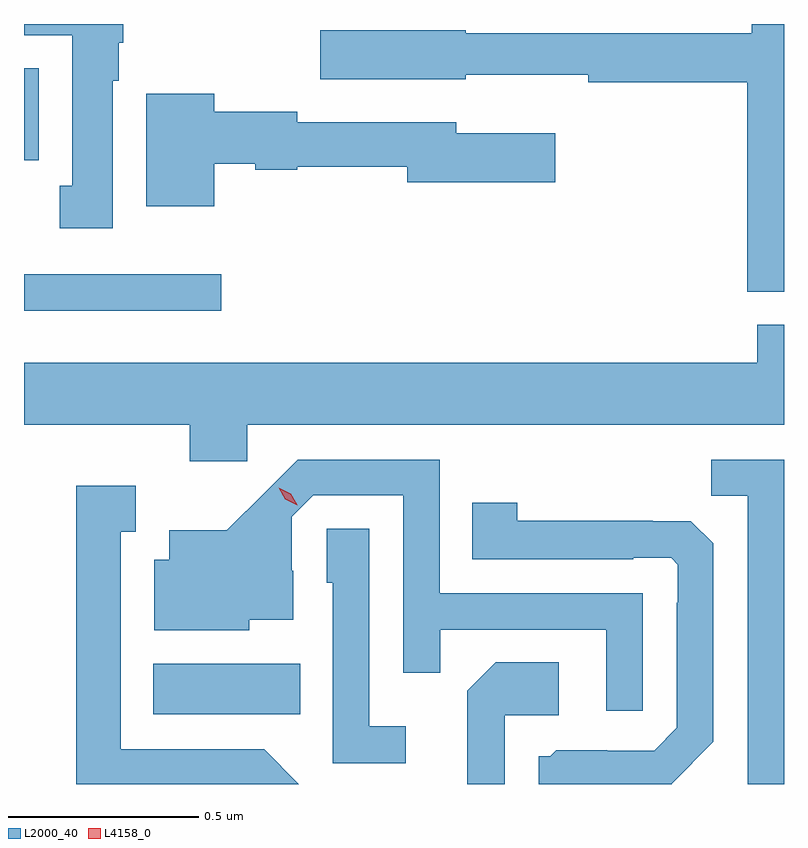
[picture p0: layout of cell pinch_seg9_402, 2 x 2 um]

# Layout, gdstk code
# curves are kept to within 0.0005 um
import gdstk
lib = gdstk.Library(unit=1e-6, precision=1e-09)
def R(c, l, rs):  # rectangles x0, y0, x1, y1
    for r in rs: c.add(gdstk.rectangle(r[:2], r[2:], *l))
def P(c, l, *ps):  # polygons
    for p in ps: c.add(gdstk.Polygon(p, *l))
L2000_40 = (2000, 40)
L4158_0 = (4158, 0)

pinch_seg9_402 = lib.new_cell('pinch_seg9_402')
R(pinch_seg9_402, L2000_40, [(326.735,1235.618,327.122,1235.752), (326.395,1236.68,326.914,1236.777), (326.395,1237.076,326.434,1237.318)])
P(pinch_seg9_402, L2000_40, [(328.395,1237.435),(328.31,1237.435),(328.31,1237.411),(327.558,1237.411),(327.558,1237.419),(327.174,1237.419),(327.174,1237.289),(327.558,1237.289),(327.558,1237.301),(327.88,1237.301),(327.88,1237.282),(328.298,1237.282),(328.298,1236.731),(328.395,1236.731)],
  [(326.629,1237.286),(326.644,1237.286),(326.644,1237.386),(326.656,1237.386),(326.656,1237.435),(326.395,1237.435),(326.395,1237.406),(326.522,1237.406),(326.522,1237.01),(326.489,1237.01),(326.489,1236.897),(326.629,1236.897)],
  [(326.896,1237.067),(327.003,1237.067),(327.003,1237.052),(327.114,1237.052),(327.114,1237.06),(327.404,1237.06),(327.404,1237.018),(327.793,1237.018),(327.793,1237.147),(327.532,1237.147),(327.532,1237.176),(327.114,1237.176),(327.114,1237.204),(326.896,1237.204),(326.896,1237.252),(326.717,1237.252),(326.717,1236.956),(326.896,1236.956)],
  [(326.982,1236.38),(328.395,1236.38),(328.395,1236.643),(328.325,1236.643),(328.325,1236.544),(326.395,1236.544),(326.395,1236.38),(326.831,1236.38),(326.831,1236.285),(326.982,1236.285)],
  [(328.023,1235.937),(327.489,1235.937),(327.489,1236.288),(327.116,1236.288),(326.929,1236.103),(326.777,1236.103),(326.777,1236.025),(326.738,1236.025),(326.738,1235.84),(326.988,1235.84),(326.988,1235.867),(327.103,1235.867),(327.103,1235.996),(327.099,1235.996),(327.099,1236.138),(327.156,1236.195),(327.393,1236.195),(327.393,1235.728),(327.491,1235.728),(327.491,1235.841),(327.927,1235.841),(327.927,1235.628),(328.023,1235.628)],
  [(328.395,1236.288),(328.204,1236.288),(328.204,1236.193),(328.299,1236.193),(328.299,1235.435),(328.395,1235.435)],
  [(327.027,1235.526),(326.65,1235.526),(326.65,1236.099),(326.689,1236.099),(326.689,1236.22),(326.532,1236.22),(326.532,1235.435),(327.118,1235.435)],
  [(328.099,1235.436),(328.209,1235.546),(328.209,1236.068),(328.15,1236.127),(328.049,1236.127),(328.049,1236.128),(327.693,1236.128),(327.693,1236.175),(327.574,1236.175),(327.574,1236.027),(327.998,1236.027),(327.998,1236.03),(328.098,1236.03),(328.116,1236.012),(328.116,1235.912),(328.113,1235.912),(328.113,1235.583),(328.053,1235.523),(327.93,1235.523),(327.93,1235.524),(327.796,1235.524),(327.78,1235.508),(327.749,1235.508),(327.749,1235.435),(328.099,1235.435)],
  [(327.4,1235.587),(327.303,1235.587),(327.303,1236.107),(327.192,1236.107),(327.192,1235.964),(327.207,1235.964),(327.207,1235.49),(327.4,1235.49)],
  [(327.66,1235.616),(327.802,1235.616),(327.802,1235.756),(327.637,1235.756),(327.561,1235.68),(327.561,1235.435),(327.66,1235.435)])
P(pinch_seg9_402, L4158_0, [(327.114,1236.169),(327.083,1236.185),(327.066,1236.214),(327.066,1236.215),(327.066,1236.215),(327.097,1236.199),(327.114,1236.17),(327.114,1236.169)])

lib.write_gds('pinch_seg9_402.gds')
